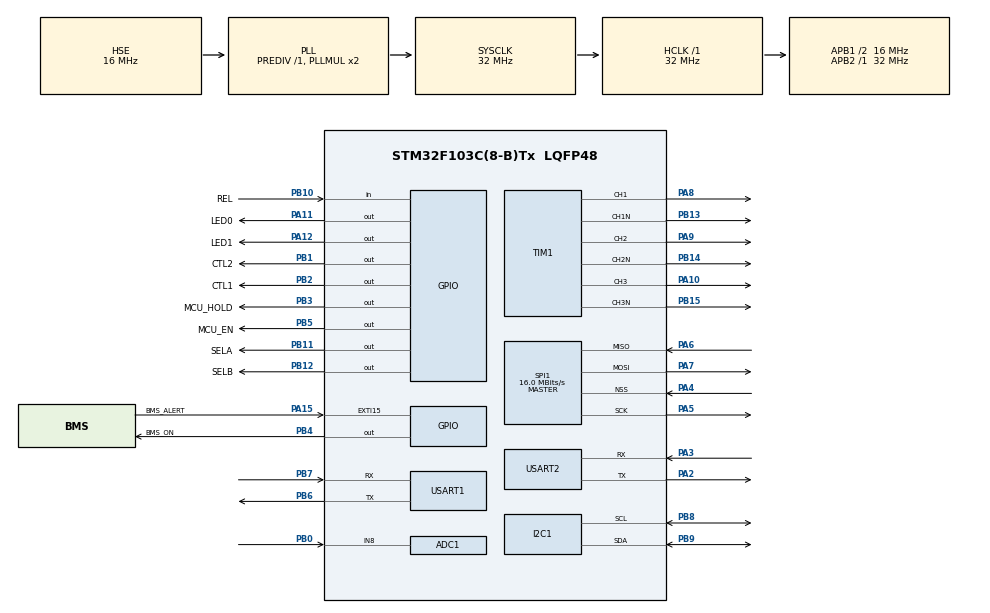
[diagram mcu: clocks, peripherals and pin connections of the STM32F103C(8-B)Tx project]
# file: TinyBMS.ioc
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ADC1.Channel-0\#ChannelRegularConversion=ADC_CHANNEL_8
ADC1.ContinuousConvMode=ENABLE
ADC1.NbrOfConversion=1
ADC1.NbrOfConversionFlag=1
ADC1.Rank-0\#ChannelRegularConversion=1
ADC1.SamplingTime-0\#ChannelRegularConversion=ADC_SAMPLETIME_55CYCLES_5
ADC1.master=1
Mcu.Family=STM32F1
Mcu.Name=STM32F103C(8-B)Tx
Mcu.Package=LQFP48
NVIC.PriorityGroup=NVIC_PRIORITYGROUP_4
PA0-WKUP.Mode=SYS_WakeUp0
PA0-WKUP.Signal=SYS_WKUP
PA10.Signal=S_TIM1_CH3
PA11.GPIO_Label=LED0
PA11.Signal=GPIO_Output
PA12.GPIO_Label=LED1
PA12.Signal=GPIO_Output
PA13.Mode=Serial_Wire
PA13.Signal=SYS_JTMS-SWDIO
PA14.Mode=Serial_Wire
PA14.Signal=SYS_JTCK-SWCLK
PA15.GPIO_Label=BMS_ALERT
PA15.Signal=GPXTI15
PA2.Mode=Asynchronous
PA2.Signal=USART2_TX
PA3.Mode=Asynchronous
PA3.Signal=USART2_RX
PA4.Mode=NSS_Signal_Hard_Input
PA4.Signal=SPI1_NSS
PA5.Mode=Full_Duplex_Master
PA5.Signal=SPI1_SCK
PA6.Mode=Full_Duplex_Master
PA6.Signal=SPI1_MISO
PA7.Mode=Full_Duplex_Master
PA7.Signal=SPI1_MOSI
PA8.Signal=S_TIM1_CH1
PA9.Signal=S_TIM1_CH2
PB0.Signal=ADCx_IN8
PB1.GPIO_Label=CTL2
PB1.Signal=GPIO_Output
PB10.GPIO_Label=REL
PB10.Signal=GPIO_Input
PB11.GPIO_Label=SELA
PB11.Signal=GPIO_Output
PB12.GPIO_Label=SELB
PB12.Signal=GPIO_Output
PB13.Mode=PWM Generation1 CH1 CH1N
PB13.Signal=TIM1_CH1N
PB14.Mode=PWM Generation2 CH2 CH2N
PB14.Signal=TIM1_CH2N
PB15.Mode=PWM Generation3 CH3 CH3N
PB15.Signal=TIM1_CH3N
PB2.GPIO_Label=CTL1
PB2.Signal=GPIO_Output
PB3.GPIO_Label=MCU_HOLD
PB3.Signal=GPIO_Output
PB4.GPIO_Label=BMS_ON
PB4.Signal=GPIO_Output
PB5.GPIO_Label=MCU_EN
PB5.Signal=GPIO_Output
PB6.Mode=Asynchronous
PB6.Signal=USART1_TX
PB7.Mode=Asynchronous
PB7.Signal=USART1_RX
PB8.Mode=I2C
PB8.Signal=I2C1_SCL
PB9.Mode=I2C
PB9.Signal=I2C1_SDA
PC14-OSC32_IN.Mode=LSE-External-Oscillator
PC14-OSC32_IN.Signal=RCC_OSC32_IN
PC15-OSC32_OUT.Mode=LSE-External-Oscillator
PC15-OSC32_OUT.Signal=RCC_OSC32_OUT
PD0-OSC_IN.Mode=HSE-External-Oscillator
PD0-OSC_IN.Signal=RCC_OSC_IN
PD1-OSC_OUT.Mode=HSE-External-Oscillator
PD1-OSC_OUT.Signal=RCC_OSC_OUT
ProjectManager.HeapSize=0x200
ProjectManager.StackSize=0x400
ProjectManager.TargetToolchain=STM32CubeIDE
RCC.ADCPresc=RCC_ADCPCLK2_DIV4
RCC.AHBFreq_Value=32000000
RCC.APB1CLKDivider=RCC_HCLK_DIV2
RCC.APB1Freq_Value=16000000
RCC.APB1TimFreq_Value=32000000
RCC.APB2Freq_Value=32000000
RCC.APB2TimFreq_Value=32000000
RCC.HCLKFreq_Value=32000000
RCC.HSE_VALUE=16000000
RCC.PLLSourceVirtual=RCC_PLLSOURCE_HSE
RCC.SYSCLKFreq_VALUE=32000000
RCC.SYSCLKSource=RCC_SYSCLKSOURCE_PLLCLK
RCC.USBFreq_Value=32000000
SH.ADCx_IN8.0=ADC1_IN8,IN8
SH.S_TIM1_CH1.0=TIM1_CH1,PWM Generation1 CH1 CH1N
SH.S_TIM1_CH2.0=TIM1_CH2,PWM Generation2 CH2 CH2N
SH.S_TIM1_CH3.0=TIM1_CH3,PWM Generation3 CH3 CH3N
SPI1.BaudRatePrescaler=SPI_BAUDRATEPRESCALER_2
SPI1.CalculateBaudRate=16.0 MBits/s
SPI1.Direction=SPI_DIRECTION_2LINES
SPI1.Mode=SPI_MODE_MASTER
SPI1.VirtualNSS=VM_NSSHARD
SPI1.VirtualType=VM_MASTER
TIM1.Channel-PWM\ Generation1\ CH1\ CH1N=TIM_CHANNEL_1
TIM1.Channel-PWM\ Generation2\ CH2\ CH2N=TIM_CHANNEL_2
TIM1.Channel-PWM\ Generation3\ CH3\ CH3N=TIM_CHANNEL_3
USART1.VirtualMode=VM_ASYNC
USART2.VirtualMode=VM_ASYNC
VP_CRC_VS_CRC.Mode=CRC_Activate
VP_RTC_VS_RTC_Activate.Mode=RTC_Enabled
board=custom

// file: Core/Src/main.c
/* USER CODE BEGIN Header */
/**
 ******************************************************************************
 * @file           : main.c
 * @brief          : Main program body
 ******************************************************************************
 * @attention
 *
 * Copyright (c) 2022 STMicroelectronics.
 * All rights reserved.
 *
 * This software is licensed under terms that can be found in the LICENSE file
 * in the root directory of this software component.
 * If no LICENSE file comes with this software, it is provided AS-IS.
 *
 ******************************************************************************
 */
/* USER CODE END Header */
#include "main.h"

/* USER CODE BEGIN Includes */
#include "stm32f1xx_hal.h"
#include "Zsy_FlashOP.h"
#include "Zsy_Registers.h"
#include "Zsy_Utils.h"
#include "Zsy_BQ76920.h"
#define BMS_I2C_ADDRESS 0x18
/* USER CODE END Includes */

ADC_HandleTypeDef hadc1;

CRC_HandleTypeDef hcrc;

I2C_HandleTypeDef hi2c1;

RTC_HandleTypeDef hrtc;

SPI_HandleTypeDef hspi1;

TIM_HandleTypeDef htim1;

UART_HandleTypeDef huart1;
UART_HandleTypeDef huart2;

void SystemClock_Config(void);
static void MX_GPIO_Init(void);
static void MX_CRC_Init(void);
static void MX_I2C1_Init(void);
static void MX_RTC_Init(void);
static void MX_USART1_UART_Init(void);
static void MX_USART2_UART_Init(void);
static void MX_TIM1_Init(void);
static void MX_ADC1_Init(void);
static void MX_SPI1_Init(void);

/* USER CODE BEGIN 0 */
//68.9Ah = 68.9A*1h=68.9A*3600s=68.9A*3600*1000ms
#define TOTAL_CAPACITY	(68.9*3600*1000)

uint32_t gFlashData[2];
//[0]:SoC, 0%~100.0%.  99.9%=999.
//[1]:Q, in unit of AMP_second.
/* USER CODE END 0 */

int main(void)
{
  /* USER CODE BEGIN 1 */
  float fPT100Res[4];
  float fPT100Celsius[4];
  /* USER CODE END 1 */

  /* MCU Configuration--------------------------------------------------------*/

  /* Reset of all peripherals, Initializes the Flash interface and the Systick. */
  HAL_Init();

  /* Configure the system clock */
  SystemClock_Config();

  /* Initialize all configured peripherals */
  MX_GPIO_Init();
  MX_CRC_Init();
  MX_I2C1_Init();
  MX_RTC_Init();
  MX_USART1_UART_Init();
  MX_USART2_UART_Init();
  MX_TIM1_Init();
  MX_ADC1_Init();
  MX_SPI1_Init();
  /* USER CODE BEGIN 2 */
  HAL_GPIO_WritePin(GPIOA, LED0_Pin|LED1_Pin, GPIO_PIN_RESET);
  //Rising edge to turn BMS ON.
  HAL_GPIO_WritePin(GPIOB, BMS_ON_Pin, GPIO_PIN_RESET);
  HAL_Delay(1000);
  HAL_GPIO_WritePin(GPIOB, BMS_ON_Pin, GPIO_PIN_SET);
  HAL_Delay(1000);
  HAL_GPIO_WritePin(GPIOB, BMS_ON_Pin, GPIO_PIN_RESET);

  //H-Bridge
  //CTL1,CTL2.
  HAL_GPIO_WritePin(GPIOB, CTL1_Pin, GPIO_PIN_RESET);
  HAL_GPIO_WritePin(GPIOB, CTL2_Pin, GPIO_PIN_SET);

  BQ76920_init ();
  enableCharging ();
  enableDischarging ();
  enableBalancing ();

  // read stored data from Embedded Flash.
  //read 2*sizeof(int) data.
  if (!ZsyFlashRead ((unsigned int*) gFlashData, 2))
    {
      if (gFlashData[0] == 0 || gFlashData[1] == 0)
	{
	  //first time after Programming.
	  //read registers to calculate Pack Voltage.
	  updateVoltages ();
	  //use Open-Circuit-Voltage to initial SoC.
	  gBQ76920Dev.iSoC = Zsy_MapVol2SoC (gBQ76920Dev.batVoltage);
	  gBQ76920Dev.iAMPSec = gBQ76920Dev.iSoC/1000.0f*TOTAL_CAPACITY;
	}
      else
	{
	  //Read back previous stored value.
	  gBQ76920Dev.iSoC = gFlashData[0];
	  gBQ76920Dev.iAMPSec = gFlashData[1];
	}
    }

  /* USER CODE END 2 */

  /* Infinite loop */
  /* USER CODE BEGIN WHILE */
  while (1)
    {
#if 1
      //read PT100.
      fPT100Res[0]=Zsy_GetPT100Resistance(0);
      fPT100Res[1]=Zsy_GetPT100Resistance(1);
      fPT100Res[2]=Zsy_GetPT100Resistance(2);
      fPT100Res[3]=Zsy_GetPT100Resistance(3);
      //convert PT100 resistance to Temperature in Celsius unit.
      fPT100Celsius[0]=Zsy_PT100_to_Temperature(fPT100Res[0]);
      fPT100Celsius[1]=Zsy_PT100_to_Temperature(fPT100Res[1]);
      fPT100Celsius[2]=Zsy_PT100_to_Temperature(fPT100Res[2]);
      fPT100Celsius[3]=Zsy_PT100_to_Temperature(fPT100Res[3]);
#endif

      HAL_GPIO_WritePin(GPIOA, LED0_Pin|LED1_Pin, GPIO_PIN_RESET);
      getDieTemperature ();
      dumpRegisters ();
      checkStatus ();
      HAL_GPIO_WritePin(GPIOA, LED0_Pin|LED1_Pin, GPIO_PIN_SET);
      updateVoltages ();
      updateCurrent (1);

    /* USER CODE END WHILE */

    }
}

void SystemClock_Config(void)
{
  RCC_OscInitTypeDef RCC_OscInitStruct = {0};
  RCC_ClkInitTypeDef RCC_ClkInitStruct = {0};
  RCC_PeriphCLKInitTypeDef PeriphClkInit = {0};

  /** Initializes the RCC Oscillators according to the specified parameters
  * in the RCC_OscInitTypeDef structure.
  */
  RCC_OscInitStruct.OscillatorType = RCC_OSCILLATORTYPE_LSI|RCC_OSCILLATORTYPE_HSE;
  RCC_OscInitStruct.HSEState = RCC_HSE_ON;
  RCC_OscInitStruct.HSEPredivValue = RCC_HSE_PREDIV_DIV1;
  RCC_OscInitStruct.HSIState = RCC_HSI_ON;
  RCC_OscInitStruct.LSIState = RCC_LSI_ON;
  RCC_OscInitStruct.PLL.PLLState = RCC_PLL_ON;
  RCC_OscInitStruct.PLL.PLLSource = RCC_PLLSOURCE_HSE;
  RCC_OscInitStruct.PLL.PLLMUL = RCC_PLL_MUL2;
  if (HAL_RCC_OscConfig(&RCC_OscInitStruct) != HAL_OK)
  {
    Error_Handler();
  }

  /** Initializes the CPU, AHB and APB buses clocks
  */
  RCC_ClkInitStruct.ClockType = RCC_CLOCKTYPE_HCLK|RCC_CLOCKTYPE_SYSCLK
                              |RCC_CLOCKTYPE_PCLK1|RCC_CLOCKTYPE_PCLK2;
  RCC_ClkInitStruct.SYSCLKSource = RCC_SYSCLKSOURCE_PLLCLK;
  RCC_ClkInitStruct.AHBCLKDivider = RCC_SYSCLK_DIV1;
  RCC_ClkInitStruct.APB1CLKDivider = RCC_HCLK_DIV2;
  RCC_ClkInitStruct.APB2CLKDivider = RCC_HCLK_DIV1;

  if (HAL_RCC_ClockConfig(&RCC_ClkInitStruct, FLASH_LATENCY_1) != HAL_OK)
  {
    Error_Handler();
  }
  PeriphClkInit.PeriphClockSelection = RCC_PERIPHCLK_RTC|RCC_PERIPHCLK_ADC;
  PeriphClkInit.RTCClockSelection = RCC_RTCCLKSOURCE_LSI;
  PeriphClkInit.AdcClockSelection = RCC_ADCPCLK2_DIV4;
  if (HAL_RCCEx_PeriphCLKConfig(&PeriphClkInit) != HAL_OK)
  {
    Error_Handler();
  }
}

static void MX_ADC1_Init(void)
{

  ADC_ChannelConfTypeDef sConfig = {0};

  /** Common config
  */
  hadc1.Instance = ADC1;
  hadc1.Init.ScanConvMode = ADC_SCAN_DISABLE;
  hadc1.Init.ContinuousConvMode = ENABLE;
  hadc1.Init.DiscontinuousConvMode = DISABLE;
  hadc1.Init.ExternalTrigConv = ADC_SOFTWARE_START;
  hadc1.Init.DataAlign = ADC_DATAALIGN_RIGHT;
  hadc1.Init.NbrOfConversion = 1;
  if (HAL_ADC_Init(&hadc1) != HAL_OK)
  {
    Error_Handler();
  }

  /** Configure Regular Channel
  */
  sConfig.Channel = ADC_CHANNEL_8;
  sConfig.Rank = ADC_REGULAR_RANK_1;
  sConfig.SamplingTime = ADC_SAMPLETIME_55CYCLES_5;
  if (HAL_ADC_ConfigChannel(&hadc1, &sConfig) != HAL_OK)
  {
    Error_Handler();
  }

}

static void MX_CRC_Init(void)
{

  hcrc.Instance = CRC;
  if (HAL_CRC_Init(&hcrc) != HAL_OK)
  {
    Error_Handler();
  }

}

static void MX_I2C1_Init(void)
{

  hi2c1.Instance = I2C1;
  hi2c1.Init.ClockSpeed = 100000;
  hi2c1.Init.DutyCycle = I2C_DUTYCYCLE_2;
  hi2c1.Init.OwnAddress1 = 0;
  hi2c1.Init.AddressingMode = I2C_ADDRESSINGMODE_7BIT;
  hi2c1.Init.DualAddressMode = I2C_DUALADDRESS_DISABLE;
  hi2c1.Init.OwnAddress2 = 0;
  hi2c1.Init.GeneralCallMode = I2C_GENERALCALL_DISABLE;
  hi2c1.Init.NoStretchMode = I2C_NOSTRETCH_DISABLE;
  if (HAL_I2C_Init(&hi2c1) != HAL_OK)
  {
    Error_Handler();
  }

}

static void MX_RTC_Init(void)
{

  /** Initialize RTC Only
  */
  hrtc.Instance = RTC;
  hrtc.Init.AsynchPrediv = RTC_AUTO_1_SECOND;
  hrtc.Init.OutPut = RTC_OUTPUTSOURCE_ALARM;
  if (HAL_RTC_Init(&hrtc) != HAL_OK)
  {
    Error_Handler();
  }

}

static void MX_SPI1_Init(void)
{

  /* SPI1 parameter configuration*/
  hspi1.Instance = SPI1;
  hspi1.Init.Mode = SPI_MODE_MASTER;
  hspi1.Init.Direction = SPI_DIRECTION_2LINES;
  hspi1.Init.DataSize = SPI_DATASIZE_8BIT;
  hspi1.Init.CLKPolarity = SPI_POLARITY_LOW;
  hspi1.Init.CLKPhase = SPI_PHASE_1EDGE;
  hspi1.Init.NSS = SPI_NSS_HARD_INPUT;
  hspi1.Init.BaudRatePrescaler = SPI_BAUDRATEPRESCALER_2;
  hspi1.Init.FirstBit = SPI_FIRSTBIT_MSB;
  hspi1.Init.TIMode = SPI_TIMODE_DISABLE;
  hspi1.Init.CRCCalculation = SPI_CRCCALCULATION_DISABLE;
  hspi1.Init.CRCPolynomial = 10;
  if (HAL_SPI_Init(&hspi1) != HAL_OK)
  {
    Error_Handler();
  }

}

static void MX_TIM1_Init(void)
{

  TIM_MasterConfigTypeDef sMasterConfig = {0};
  TIM_OC_InitTypeDef sConfigOC = {0};
  TIM_BreakDeadTimeConfigTypeDef sBreakDeadTimeConfig = {0};

  htim1.Instance = TIM1;
  htim1.Init.Prescaler = 0;
  htim1.Init.CounterMode = TIM_COUNTERMODE_UP;
  htim1.Init.Period = 65535;
  htim1.Init.ClockDivision = TIM_CLOCKDIVISION_DIV1;
  htim1.Init.RepetitionCounter = 0;
  htim1.Init.AutoReloadPreload = TIM_AUTORELOAD_PRELOAD_DISABLE;
  if (HAL_TIM_PWM_Init(&htim1) != HAL_OK)
  {
    Error_Handler();
  }
  sMasterConfig.MasterOutputTrigger = TIM_TRGO_RESET;
  sMasterConfig.MasterSlaveMode = TIM_MASTERSLAVEMODE_DISABLE;
  if (HAL_TIMEx_MasterConfigSynchronization(&htim1, &sMasterConfig) != HAL_OK)
  {
    Error_Handler();
  }
  sConfigOC.OCMode = TIM_OCMODE_PWM1;
  sConfigOC.Pulse = 0;
  sConfigOC.OCPolarity = TIM_OCPOLARITY_HIGH;
  sConfigOC.OCNPolarity = TIM_OCNPOLARITY_HIGH;
  sConfigOC.OCFastMode = TIM_OCFAST_DISABLE;
  sConfigOC.OCIdleState = TIM_OCIDLESTATE_RESET;
  sConfigOC.OCNIdleState = TIM_OCNIDLESTATE_RESET;
  if (HAL_TIM_PWM_ConfigChannel(&htim1, &sConfigOC, TIM_CHANNEL_1) != HAL_OK)
  {
    Error_Handler();
  }
  if (HAL_TIM_PWM_ConfigChannel(&htim1, &sConfigOC, TIM_CHANNEL_2) != HAL_OK)
  {
    Error_Handler();
  }
  if (HAL_TIM_PWM_ConfigChannel(&htim1, &sConfigOC, TIM_CHANNEL_3) != HAL_OK)
  {
    Error_Handler();
  }
  sBreakDeadTimeConfig.OffStateRunMode = TIM_OSSR_DISABLE;
  sBreakDeadTimeConfig.OffStateIDLEMode = TIM_OSSI_DISABLE;
  sBreakDeadTimeConfig.LockLevel = TIM_LOCKLEVEL_OFF;
  sBreakDeadTimeConfig.DeadTime = 0;
  sBreakDeadTimeConfig.BreakState = TIM_BREAK_DISABLE;
  sBreakDeadTimeConfig.BreakPolarity = TIM_BREAKPOLARITY_HIGH;
  sBreakDeadTimeConfig.AutomaticOutput = TIM_AUTOMATICOUTPUT_DISABLE;
  if (HAL_TIMEx_ConfigBreakDeadTime(&htim1, &sBreakDeadTimeConfig) != HAL_OK)
  {
    Error_Handler();
  }
  HAL_TIM_MspPostInit(&htim1);

}

static void MX_USART1_UART_Init(void)
{

  huart1.Instance = USART1;
  huart1.Init.BaudRate = 115200;
  huart1.Init.WordLength = UART_WORDLENGTH_8B;
  huart1.Init.StopBits = UART_STOPBITS_1;
  huart1.Init.Parity = UART_PARITY_NONE;
  huart1.Init.Mode = UART_MODE_TX_RX;
  huart1.Init.HwFlowCtl = UART_HWCONTROL_NONE;
  huart1.Init.OverSampling = UART_OVERSAMPLING_16;
  if (HAL_UART_Init(&huart1) != HAL_OK)
  {
    Error_Handler();
  }

}

static void MX_USART2_UART_Init(void)
{

  huart2.Instance = USART2;
  huart2.Init.BaudRate = 115200;
  huart2.Init.WordLength = UART_WORDLENGTH_8B;
  huart2.Init.StopBits = UART_STOPBITS_1;
  huart2.Init.Parity = UART_PARITY_NONE;
  huart2.Init.Mode = UART_MODE_TX_RX;
  huart2.Init.HwFlowCtl = UART_HWCONTROL_NONE;
  huart2.Init.OverSampling = UART_OVERSAMPLING_16;
  if (HAL_UART_Init(&huart2) != HAL_OK)
  {
    Error_Handler();
  }

}

static void MX_GPIO_Init(void)
{
  GPIO_InitTypeDef GPIO_InitStruct = {0};

  /* GPIO Ports Clock Enable */
  __HAL_RCC_GPIOC_CLK_ENABLE();
  __HAL_RCC_GPIOD_CLK_ENABLE();
  __HAL_RCC_GPIOA_CLK_ENABLE();
  __HAL_RCC_GPIOB_CLK_ENABLE();

  /*Configure GPIO pin Output Level */
  HAL_GPIO_WritePin(GPIOB, CTL2_Pin|CTL1_Pin|SELA_Pin|SELB_Pin
                          |MCU_HOLD_Pin|BMS_ON_Pin|MCU_EN_Pin, GPIO_PIN_RESET);

  /*Configure GPIO pin Output Level */
  HAL_GPIO_WritePin(GPIOA, LED0_Pin|LED1_Pin, GPIO_PIN_RESET);

  /*Configure GPIO pins : CTL2_Pin CTL1_Pin SELA_Pin SELB_Pin
                           MCU_HOLD_Pin BMS_ON_Pin MCU_EN_Pin */
  GPIO_InitStruct.Pin = CTL2_Pin|CTL1_Pin|SELA_Pin|SELB_Pin
                          |MCU_HOLD_Pin|BMS_ON_Pin|MCU_EN_Pin;
  GPIO_InitStruct.Mode = GPIO_MODE_OUTPUT_PP;
  GPIO_InitStruct.Pull = GPIO_NOPULL;
  GPIO_InitStruct.Speed = GPIO_SPEED_FREQ_LOW;
  HAL_GPIO_Init(GPIOB, &GPIO_InitStruct);

  /*Configure GPIO pin : REL_Pin */
  GPIO_InitStruct.Pin = REL_Pin;
  GPIO_InitStruct.Mode = GPIO_MODE_INPUT;
  GPIO_InitStruct.Pull = GPIO_NOPULL;
  HAL_GPIO_Init(REL_GPIO_Port, &GPIO_InitStruct);

  /*Configure GPIO pins : LED0_Pin LED1_Pin */
  GPIO_InitStruct.Pin = LED0_Pin|LED1_Pin;
  GPIO_InitStruct.Mode = GPIO_MODE_OUTPUT_PP;
  GPIO_InitStruct.Pull = GPIO_NOPULL;
  GPIO_InitStruct.Speed = GPIO_SPEED_FREQ_LOW;
  HAL_GPIO_Init(GPIOA, &GPIO_InitStruct);

  /*Configure GPIO pin : BMS_ALERT_Pin */
  GPIO_InitStruct.Pin = BMS_ALERT_Pin;
  GPIO_InitStruct.Mode = GPIO_MODE_IT_RISING;
  GPIO_InitStruct.Pull = GPIO_NOPULL;
  HAL_GPIO_Init(BMS_ALERT_GPIO_Port, &GPIO_InitStruct);

}

void Error_Handler(void)
{
  /* USER CODE BEGIN Error_Handler_Debug */
  /* User can add his own implementation to report the HAL error return state */
  __disable_irq ();
  while (1)
    {
    }
  /* USER CODE END Error_Handler_Debug */
}
